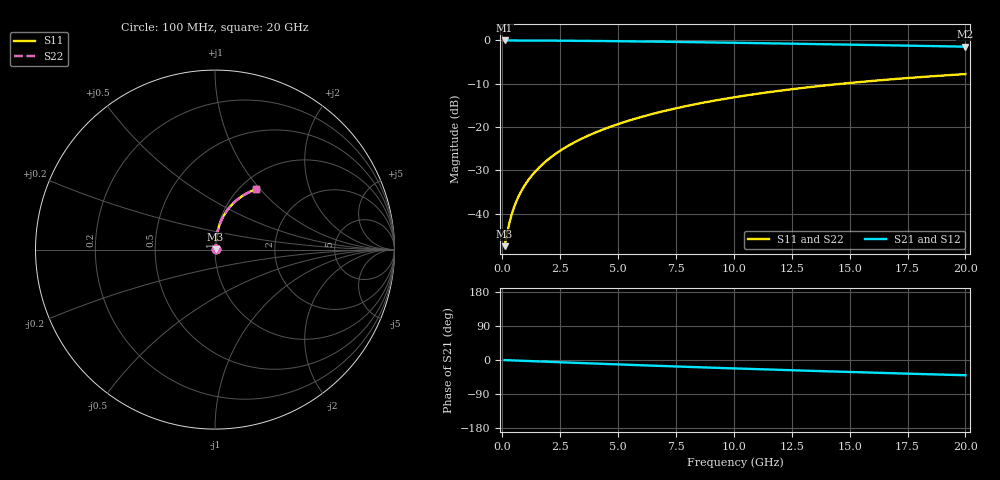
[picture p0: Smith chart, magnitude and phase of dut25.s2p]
! Touchstone file exported from HFSS 2024.1.0
!  File:  C:/UserFiles/LocalFiles/RDL_TSV_Batchsim/temp_RDL_bottom_25_1778691875.aedt
!  Generated:  01:07:28 AM May 14, 2026
!  Design:  RDL_bottom
!  Project:  temp_RDL_bottom_25_1778691875
!  Setup:  Setup1
!  Solution:  Sweep
! Variables:
!  dtsv = 10.80580581um
!  hbump = 3um
!  htsv = 73.13um
!  ldown = 520.85um
!  lrdl = 100um
!  p = 40
!  p1 = 55.28um
!  rhole = 1um
!  t = 450um
!  tdown = 2.74um
!  trdl = 3.915915916um
!  wdown = 20.32um
!  wrdl = 20um
# GHz S MA R 50.000000
! Terminal data exported
! Port[1] = RDL1_T1
! Port[2] = RDL1_T2
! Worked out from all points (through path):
!   200 points, 100 MHz to 20 GHz, reference 50 ohm
!   highest |S21| = -0.03 dB at 100 MHz (marker M1); lowest = -1.5 dB at 20 GHz (marker M2)
!   group delay of S21, straight-line fit = 5.56 ps
!   lowest |S11| = -47.5 dB at 100 MHz (marker M3), VSWR 1.01, Z = 50.4 + j0.228 ohm
!   |S11| at or under -10 dB: start of sweep to 14.7 GHz
!   |S22| runs from -47.5 to -7.8 dB; largest |S21 - S12| = 3.4e-15
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0.1  0.004207 32.6  0.9965 -0.3  0.9965 -0.3  0.004207 32.6
! Gamma 0 0 0 0
! Port Impedance 50 0 50 0
0.2  0.005794 51.0  0.9963 -0.5  0.9963 -0.5  0.005794 51.0
0.3  0.007687 60.6  0.9962 -0.7  0.9962 -0.7  0.007687 60.6
0.4  0.00967 66.1  0.996 -1.0  0.996 -1.0  0.00967 66.1
0.5  0.01168 69.6  0.9958 -1.2  0.9958 -1.2  0.01168 69.6
0.6  0.0137 72.1  0.9956 -1.5  0.9956 -1.5  0.0137 72.1
0.8  0.01775 75.5  0.9952 -1.9  0.9952 -1.9  0.01774 75.5
1.1  0.02387 78.5  0.9946 -2.7  0.9946 -2.7  0.02387 78.5
1.3  0.02799 79.7  0.9942 -3.1  0.9942 -3.1  0.02799 79.7
1.6  0.03422 81.0  0.9934 -3.8  0.9934 -3.8  0.03422 81.0
2.1  0.04472 82.1  0.9919 -5.0  0.9919 -5.0  0.04472 82.1
2.7  0.05749 82.7  0.9896 -6.4  0.9896 -6.4  0.05749 82.7
3.5  0.07479 82.7  0.9859 -8.3  0.9859 -8.3  0.0748 82.7
4.2  0.09016 82.3  0.982 -9.9  0.982 -9.9  0.09016 82.3
5  0.1079 81.5  0.977 -11.7  0.977 -11.7  0.1079 81.5
5.9  0.1281 80.4  0.9708 -13.7  0.9708 -13.7  0.1281 80.4
6.8  0.1484 79.1  0.9641 -15.6  0.9641 -15.6  0.1484 79.1
8.4  0.1844 76.5  0.9512 -19.0  0.9512 -19.0  0.1844 76.5
10.1  0.2219 73.4  0.9366 -22.4  0.9366 -22.4  0.2219 73.4
13.4  0.2908 67.2  0.9067 -28.7  0.9067 -28.7  0.2908 67.3
16.7  0.353 61.2  0.8758 -34.7  0.8758 -34.7  0.353 61.2
20  0.4077 55.6  0.8449 -40.2  0.8449 -40.2  0.4078 55.6
